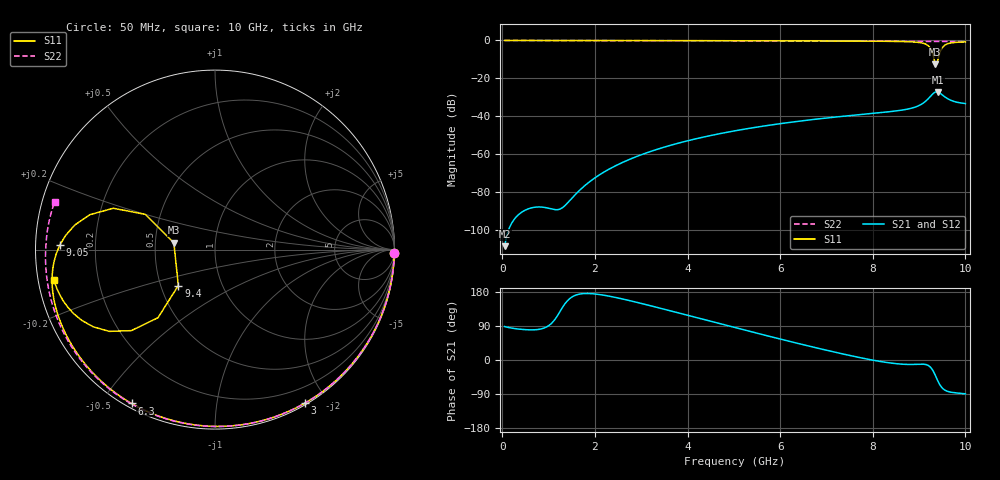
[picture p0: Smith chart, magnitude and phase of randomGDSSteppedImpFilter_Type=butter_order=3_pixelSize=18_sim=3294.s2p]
! freq	dB(S11)	phase(S11)	dB(S12)	phase(S12)
!  dB(S21)	phase(S21)	dB(S22)	phase(S22)
!S-par simulation data
#  GHz  S  DB  R 50
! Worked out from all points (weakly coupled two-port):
!   200 points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, 50 MHz to 10 GHz, reference 50 ohm
!   highest |S21| = -27.14 dB at 9.4 GHz (marker M1); lowest = -108.6 dB at 50 MHz (marker M2)
!   lowest |S11| = -12.7 dB at 9.35 GHz (marker M3), VSWR 1.61, Z = 31.3 + j2.52 ohm
!   |S11| at or under -10 dB: 9.325 GHz to 9.409 GHz (83.69 MHz wide, 0.893 % of centre)
!   |S22| runs from -0.6 to 0.0 dB; largest |S21 - S12| = 0
!   S11 on the Smith chart (normalised r, x): 50 MHz: open; 3 GHz: 0.02, -1.75; 6.3 GHz: 0.02, -0.59; 9.05 GHz: 0.07, +0.01; 9.4 GHz: 0.62, -0.27; 10 GHz: 0.05, -0.09
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0.05  -0.01 -1.0  -108.62 88.3  -108.62 88.3  -0.00 -1.1
0.8  -0.02 -16.3  -87.92 81.1  -87.92 81.1  -0.02 -18.1
1.6  -0.04 -32.4  -80.78 171.8  -80.78 171.8  -0.05 -35.8
1.75  -0.04 -35.4  -77.31 175.2  -77.31 175.2  -0.05 -39.1
2.3  -0.06 -46.1  -68.04 168.6  -68.04 168.6  -0.07 -50.9
3  -0.08 -59.5  -60.36 149.3  -60.36 149.3  -0.08 -65.5
3.4  -0.09 -67.0  -57.05 137.0  -57.05 137.0  -0.10 -73.6
5.05  -0.15 -96.8  -47.59 84.8  -47.59 84.8  -0.16 -105.4
6.3  -0.22 -118.5  -42.97 46.3  -42.97 46.3  -0.23 -128.2
6.7  -0.25 -125.4  -41.77 34.4  -41.77 34.4  -0.26 -135.3
8.35  -0.46 -156.8  -37.65 -7.4  -37.65 -7.4  -0.41 -165.0
8.75  -0.64 -167.7  -36.26 -11.7  -36.26 -11.7  -0.46 -172.4
9.05  -1.25 178.4  -33.70 -10.9  -33.70 -10.9  -0.49 -178.0
9.15  -2.01 170.1  -31.90 -12.0  -31.90 -12.0  -0.51 -179.9
9.25  -4.27 157.9  -29.39 -19.4  -29.39 -19.4  -0.52 178.2
9.3  -7.22 153.2  -28.10 -27.9  -28.10 -27.9  -0.52 177.3
9.35  -12.68 170.6  -27.22 -40.3  -27.22 -40.3  -0.53 176.3
9.4  -10.87 -135.6  -27.14 -54.1  -27.14 -54.1  -0.53 175.3
9.45  -6.11 -129.9  -27.77 -65.9  -27.77 -65.9  -0.53 174.3
9.55  -2.56 -142.3  -29.68 -79.1  -29.68 -79.1  -0.55 172.4
9.7  -1.27 -155.6  -31.74 -85.2  -31.74 -85.2  -0.57 169.4
10  -0.78 -169.3  -33.31 -89.3  -33.31 -89.3  -0.61 163.4
